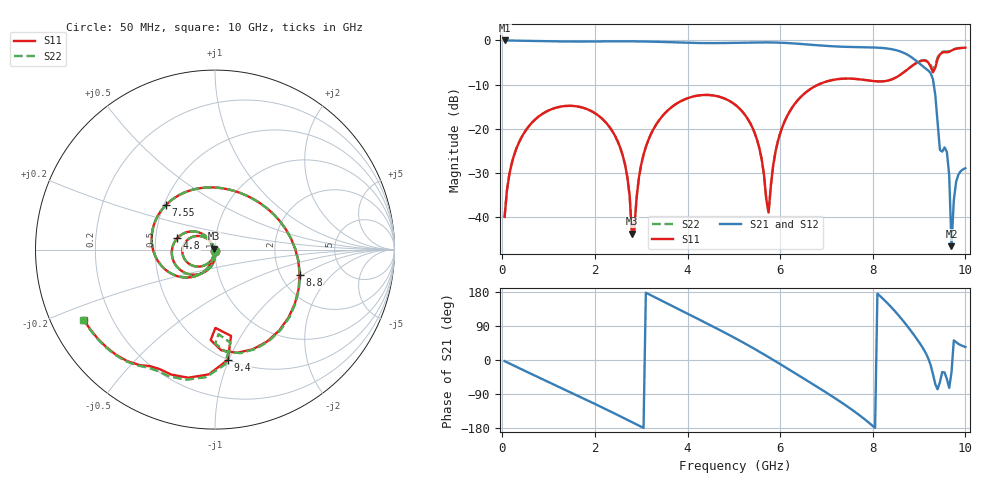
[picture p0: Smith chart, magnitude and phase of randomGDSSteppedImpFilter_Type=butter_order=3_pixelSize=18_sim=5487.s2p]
! freq	dB(S11)	phase(S11)	dB(S12)	phase(S12)
!  dB(S21)	phase(S21)	dB(S22)	phase(S22)
!S-par simulation data
#  GHz  S  DB  R 50
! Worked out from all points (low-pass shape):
!   200 points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, 50 MHz to 10 GHz, reference 50 ohm
!   highest |S21| = 0.00 dB at 50 MHz (marker M1); lowest = -46.6 dB at 9.7 GHz (marker M2)
!   |S21| within 3 dB of the highest: start of sweep to 8.707 GHz
!   lowest |S11| = -43.7 dB at 2.8 GHz (marker M3), VSWR 1.01, Z = 49.6 + j0.525 ohm
!   |S11| at or under -10 dB: start of sweep to 6.824 GHz
!   |S22| runs from -44.1 to -1.6 dB; largest |S21 - S12| = 0
!   S11 on the Smith chart (normalised r, x): 50 MHz: 1.00, -0.02; 4.8 GHz: 0.65, +0.09; 7.55 GHz: 0.51, +0.30; 8.8 GHz: 2.53, -0.95; 9.4 GHz: 0.50, -0.99; 10 GHz: 0.10, -0.25
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0.05  -39.94 -92.6  -0.00 -3.0  -0.00 -3.0  -39.94 -92.6
0.55  -19.73 -122.8  -0.09 -32.3  -0.09 -32.3  -19.73 -122.9
1.75  -15.26 168.1  -0.25 -101.4  -0.25 -101.4  -15.26 168.0
2.55  -24.38 121.9  -0.19 -148.7  -0.19 -148.7  -24.39 121.1
2.8  -43.74 125.6  -0.20 -163.9  -0.20 -163.9  -44.07 114.4
3.05  -25.85 -91.8  -0.23 -179.3  -0.23 -179.3  -25.85 -90.8
3.4  -17.86 -112.1  -0.33 159.0  -0.33 159.0  -17.86 -111.7
4.8  -13.16 163.4  -0.58 72.5  -0.58 72.5  -13.16 163.5
5.05  -14.73 147.9  -0.53 56.3  -0.53 56.3  -14.73 147.9
5.5  -22.45 122.0  -0.44 25.5  -0.44 25.5  -22.45 122.0
5.75  -38.96 -153.3  -0.44 7.6  -0.44 7.6  -39.01 -153.3
6.05  -19.51 -110.8  -0.53 -14.5  -0.53 -14.5  -19.51 -110.8
6.7  -10.69 -155.9  -1.00 -63.3  -1.00 -63.3  -10.69 -156.1
7.55  -8.65 137.4  -1.49 -131.1  -1.49 -131.1  -8.65 136.9
8.35  -9.02 52.7  -1.88 145.8  -1.88 145.8  -9.02 52.0
8.8  -6.15 -16.9  -3.56 80.8  -3.56 80.8  -6.13 -16.6
9.2  -5.01 -86.5  -6.83 3.6  -6.83 3.6  -4.86 -84.1
9.4  -4.18 -83.3  -18.58 -77.3  -18.58 -77.3  -3.84 -85.0
9.6  -2.69 -114.9  -25.22 -50.2  -25.22 -50.2  -2.52 -115.5
9.7  -2.29 -123.1  -46.56 -33.0  -46.56 -33.0  -2.18 -124.0
9.8  -1.88 -133.5  -31.97 47.1  -31.97 47.1  -1.83 -134.2
10  -1.63 -151.6  -28.92 34.5  -28.92 34.5  -1.61 -152.0
